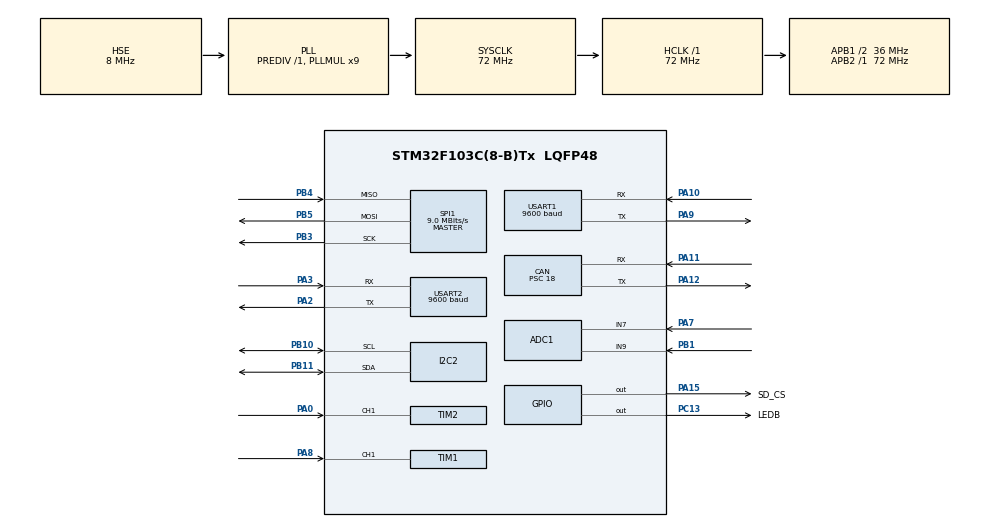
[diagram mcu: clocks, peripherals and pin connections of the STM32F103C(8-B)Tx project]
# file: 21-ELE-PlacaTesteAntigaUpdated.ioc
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ADC1.Channel-0\#ChannelRegularConversion=ADC_CHANNEL_7
ADC1.Channel-1\#ChannelRegularConversion=ADC_CHANNEL_9
ADC1.ContinuousConvMode=ENABLE
ADC1.NbrOfConversion=2
ADC1.NbrOfConversionFlag=1
ADC1.Rank-0\#ChannelRegularConversion=1
ADC1.Rank-1\#ChannelRegularConversion=2
ADC1.SamplingTime-0\#ChannelRegularConversion=ADC_SAMPLETIME_239CYCLES_5
ADC1.SamplingTime-1\#ChannelRegularConversion=ADC_SAMPLETIME_239CYCLES_5
ADC1.master=1
CAN.BS1=CAN_BS1_2TQ
CAN.CalculateBaudRate=500000
CAN.CalculateTimeBit=2000
CAN.CalculateTimeQuantum=500.0
CAN.Prescaler=18
Dma.ADC1.0.Direction=DMA_PERIPH_TO_MEMORY
Dma.ADC1.0.Instance=DMA1_Channel1
Dma.ADC1.0.MemDataAlignment=DMA_MDATAALIGN_HALFWORD
Dma.ADC1.0.MemInc=DMA_MINC_ENABLE
Dma.ADC1.0.Mode=DMA_CIRCULAR
Dma.ADC1.0.PeriphDataAlignment=DMA_PDATAALIGN_HALFWORD
Dma.ADC1.0.PeriphInc=DMA_PINC_DISABLE
Dma.ADC1.0.Priority=DMA_PRIORITY_LOW
Dma.Request0=ADC1
Dma.Request1=USART1_RX
Dma.Request2=USART2_RX
Dma.USART1_RX.1.Direction=DMA_PERIPH_TO_MEMORY
Dma.USART1_RX.1.Instance=DMA1_Channel5
Dma.USART1_RX.1.MemDataAlignment=DMA_MDATAALIGN_BYTE
Dma.USART1_RX.1.MemInc=DMA_MINC_ENABLE
Dma.USART1_RX.1.Mode=DMA_CIRCULAR
Dma.USART1_RX.1.PeriphDataAlignment=DMA_PDATAALIGN_BYTE
Dma.USART1_RX.1.PeriphInc=DMA_PINC_DISABLE
Dma.USART1_RX.1.Priority=DMA_PRIORITY_VERY_HIGH
Dma.USART2_RX.2.Direction=DMA_PERIPH_TO_MEMORY
Dma.USART2_RX.2.Instance=DMA1_Channel6
Dma.USART2_RX.2.MemDataAlignment=DMA_MDATAALIGN_BYTE
Dma.USART2_RX.2.MemInc=DMA_MINC_ENABLE
Dma.USART2_RX.2.Mode=DMA_CIRCULAR
Dma.USART2_RX.2.PeriphDataAlignment=DMA_PDATAALIGN_BYTE
Dma.USART2_RX.2.PeriphInc=DMA_PINC_DISABLE
Dma.USART2_RX.2.Priority=DMA_PRIORITY_VERY_HIGH
FATFS._FS_TINY=1
FATFS._MAX_SS=1024
FATFS._USE_LFN=1
Mcu.Family=STM32F1
Mcu.Name=STM32F103C(8-B)Tx
Mcu.Package=LQFP48
NVIC.DMA1_Channel1_IRQn=true\:0\:0\:false\:false\:true\:false\:true
NVIC.DMA1_Channel5_IRQn=true\:0\:0\:false\:false\:true\:false\:true
NVIC.DMA1_Channel6_IRQn=true\:0\:0\:false\:false\:true\:false\:true
NVIC.PriorityGroup=NVIC_PRIORITYGROUP_4
NVIC.TIM1_CC_IRQn=true\:0\:0\:true\:false\:true\:true\:true
NVIC.TIM1_UP_IRQn=true\:0\:0\:true\:false\:true\:true\:true
NVIC.TIM2_IRQn=true\:0\:0\:true\:false\:true\:true\:true
NVIC.TIM3_IRQn=true\:1\:0\:true\:false\:true\:true\:true
NVIC.TIM4_IRQn=true\:1\:0\:true\:false\:true\:true\:true
NVIC.USART1_IRQn=true\:0\:0\:true\:false\:true\:true\:true
NVIC.USART2_IRQn=true\:0\:0\:true\:false\:true\:true\:true
NVIC.USB_LP_CAN1_RX0_IRQn=true\:0\:0\:false\:false\:true\:true\:true
PA0-WKUP.GPIO_PuPd=GPIO_PULLDOWN
PA0-WKUP.Signal=S_TIM2_CH1_ETR
PA10.Mode=Asynchronous
PA10.Signal=USART1_RX
PA11.Mode=CAN_Activate
PA11.Signal=CAN_RX
PA12.Mode=CAN_Activate
PA12.Signal=CAN_TX
PA13.Mode=Serial_Wire
PA13.Signal=SYS_JTMS-SWDIO
PA14.Mode=Serial_Wire
PA14.Signal=SYS_JTCK-SWCLK
PA15.GPIO_Label=SD_CS
PA15.GPIO_Speed=GPIO_SPEED_FREQ_MEDIUM
PA15.Signal=GPIO_Output
PA2.Mode=Asynchronous
PA2.Signal=USART2_TX
PA3.Mode=Asynchronous
PA3.Signal=USART2_RX
PA7.Signal=ADCx_IN7
PA8.GPIO_PuPd=GPIO_PULLDOWN
PA8.Signal=S_TIM1_CH1
PA9.Mode=Asynchronous
PA9.Signal=USART1_TX
PB1.Signal=ADCx_IN9
PB10.GPIO_Pu=GPIO_PULLUP
PB10.Mode=I2C
PB10.Signal=I2C2_SCL
PB11.GPIO_Pu=GPIO_PULLUP
PB11.Mode=I2C
PB11.Signal=I2C2_SDA
PB3.Mode=Full_Duplex_Master
PB3.Signal=SPI1_SCK
PB4.Mode=Full_Duplex_Master
PB4.Signal=SPI1_MISO
PB5.Mode=Full_Duplex_Master
PB5.Signal=SPI1_MOSI
PC13-TAMPER-RTC.GPIO_Label=LEDB
PC13-TAMPER-RTC.Signal=GPIO_Output
PD0-OSC_IN.Mode=HSE-External-Oscillator
PD0-OSC_IN.Signal=RCC_OSC_IN
PD1-OSC_OUT.Mode=HSE-External-Oscillator
PD1-OSC_OUT.Signal=RCC_OSC_OUT
ProjectManager.HeapSize=0x200
ProjectManager.StackSize=0x400
ProjectManager.TargetToolchain=STM32CubeIDE
RCC.ADCPresc=RCC_ADCPCLK2_DIV6
RCC.AHBFreq_Value=72000000
RCC.APB1CLKDivider=RCC_HCLK_DIV2
RCC.APB1Freq_Value=36000000
RCC.APB1TimFreq_Value=72000000
RCC.APB2Freq_Value=72000000
RCC.APB2TimFreq_Value=72000000
RCC.HCLKFreq_Value=72000000
RCC.PLLMUL=RCC_PLL_MUL9
RCC.PLLSourceVirtual=RCC_PLLSOURCE_HSE
RCC.SYSCLKFreq_VALUE=72000000
RCC.SYSCLKSource=RCC_SYSCLKSOURCE_PLLCLK
RCC.USBFreq_Value=72000000
SH.ADCx_IN7.0=ADC1_IN7,IN7
SH.ADCx_IN9.0=ADC1_IN9,IN9
SH.S_TIM1_CH1.0=TIM1_CH1,Input_Capture1_from_TI1
SH.S_TIM2_CH1_ETR.0=TIM2_CH1,Input_Capture1_from_TI1
SPI1.BaudRatePrescaler=SPI_BAUDRATEPRESCALER_8
SPI1.CalculateBaudRate=9.0 MBits/s
SPI1.Direction=SPI_DIRECTION_2LINES
SPI1.Mode=SPI_MODE_MASTER
SPI1.VirtualType=VM_MASTER
TIM1.Channel-Input_Capture1_from_TI1=TIM_CHANNEL_1
TIM1.ICFilter_CH1=15
TIM1.Period=49999
TIM1.Prescaler=71
TIM2.Channel-Input_Capture1_from_TI1=TIM_CHANNEL_1
TIM2.ICFilter_CH1=15
TIM2.Period=49999
TIM2.Prescaler=71
TIM3.Period=49999
TIM3.Prescaler=71
TIM4.ClockDivision=TIM_CLOCKDIVISION_DIV1
TIM4.Period=9999
TIM4.Prescaler=71
USART1.BaudRate=9600
USART1.VirtualMode=VM_ASYNC
USART2.BaudRate=9600
USART2.VirtualMode=VM_ASYNC
VP_FATFS_VS_Generic.Mode=User_defined
VP_TIM1_VS_ClockSourceINT.Mode=Internal
VP_TIM2_VS_ClockSourceINT.Mode=Internal
VP_TIM3_VS_ClockSourceINT.Mode=Internal
VP_TIM4_VS_ClockSourceINT.Mode=Internal
board=custom

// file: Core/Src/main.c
/* USER CODE BEGIN Header */
/**
  ******************************************************************************
  * @file           : main.c
  * @brief          : Main program body
  ******************************************************************************
  * @attention
  *
  * <h2><center>&copy; Copyright (c) 2021 STMicroelectronics.
  * All rights reserved.</center></h2>
  *
  * This software component is licensed by ST under Ultimate Liberty license
  * SLA0044, the "License"; You may not use this file except in compliance with
  * the License. You may obtain a copy of the License at:
  *                             www.st.com/SLA0044
  *
  ******************************************************************************
  */
/* USER CODE END Header */
#include "main.h"
#include "fatfs.h"

/* USER CODE BEGIN Includes */
#include "sdCard.h"
#include "rot.h"
#include "vel.h"
#include "dina.h"
#include "ace_gir.h"
#include "can_bus.h"
#include "ADC_DMA.h"
#include "traction.h"
/* USER CODE END Includes */

ADC_HandleTypeDef hadc1;
DMA_HandleTypeDef hdma_adc1;

CAN_HandleTypeDef hcan;

I2C_HandleTypeDef hi2c2;

SPI_HandleTypeDef hspi1;

TIM_HandleTypeDef htim1;
TIM_HandleTypeDef htim2;
TIM_HandleTypeDef htim3;
TIM_HandleTypeDef htim4;

UART_HandleTypeDef huart1;
UART_HandleTypeDef huart2;
DMA_HandleTypeDef hdma_usart1_rx;
DMA_HandleTypeDef hdma_usart2_rx;

void SystemClock_Config(void);
static void MX_GPIO_Init(void);
static void MX_DMA_Init(void);
static void MX_ADC1_Init(void);
static void MX_I2C2_Init(void);
static void MX_SPI1_Init(void);
static void MX_TIM2_Init(void);
static void MX_TIM3_Init(void);
static void MX_TIM4_Init(void);
static void MX_TIM1_Init(void);
static void MX_USART1_UART_Init(void);
static void MX_CAN_Init(void);
static void MX_USART2_UART_Init(void);

int main(void)
{

  /* MCU Configuration--------------------------------------------------------*/

  /* Reset of all peripherals, Initializes the Flash interface and the Systick. */
  HAL_Init();

  /* Configure the system clock */
  SystemClock_Config();

  /* Initialize all configured peripherals */
  MX_GPIO_Init();
  MX_DMA_Init();
  MX_ADC1_Init();
  MX_I2C2_Init();
  MX_SPI1_Init();
  MX_TIM2_Init();
  MX_TIM3_Init();
  MX_FATFS_Init();
  MX_TIM4_Init();
  MX_TIM1_Init();
  MX_USART1_UART_Init();
  MX_CAN_Init();
  MX_USART2_UART_Init();
  /* USER CODE BEGIN 2 */

	fresult = SD_Init();
	if (fresult == FR_NOT_READY)
		sdCard.mode = 9;

	if (sdCard.mode == 0)
	{
	  rot_Init();
	  vel_Init();
	}
	else if (sdCard.mode == 1)
	{
		dina_Init();
		rot_Init();
	}
	else if (sdCard.mode == 2)
	{
		can_bus_Init();
		aceGir_Init(&hi2c2);
		ADC_DMA_Init();
	}
	else if (sdCard.mode == 3)
	{
		traction_Init();
		rot_Init();
		vel_Init();
	}
	else if (sdCard.mode == 4)
	{
		can_bus_Init();
	}

	HAL_TIM_Base_Start_IT(&htim4);

  /* USER CODE END 2 */

  /* Infinite loop */
  while (1)
  {

  }
}

void SystemClock_Config(void)
{
  RCC_OscInitTypeDef RCC_OscInitStruct = {0};
  RCC_ClkInitTypeDef RCC_ClkInitStruct = {0};
  RCC_PeriphCLKInitTypeDef PeriphClkInit = {0};

  /** Initializes the RCC Oscillators according to the specified parameters
  * in the RCC_OscInitTypeDef structure.
  */
  RCC_OscInitStruct.OscillatorType = RCC_OSCILLATORTYPE_HSE;
  RCC_OscInitStruct.HSEState = RCC_HSE_ON;
  RCC_OscInitStruct.HSEPredivValue = RCC_HSE_PREDIV_DIV1;
  RCC_OscInitStruct.HSIState = RCC_HSI_ON;
  RCC_OscInitStruct.PLL.PLLState = RCC_PLL_ON;
  RCC_OscInitStruct.PLL.PLLSource = RCC_PLLSOURCE_HSE;
  RCC_OscInitStruct.PLL.PLLMUL = RCC_PLL_MUL9;
  if (HAL_RCC_OscConfig(&RCC_OscInitStruct) != HAL_OK)
  {
    Error_Handler();
  }
  /** Initializes the CPU, AHB and APB buses clocks
  */
  RCC_ClkInitStruct.ClockType = RCC_CLOCKTYPE_HCLK|RCC_CLOCKTYPE_SYSCLK
                              |RCC_CLOCKTYPE_PCLK1|RCC_CLOCKTYPE_PCLK2;
  RCC_ClkInitStruct.SYSCLKSource = RCC_SYSCLKSOURCE_PLLCLK;
  RCC_ClkInitStruct.AHBCLKDivider = RCC_SYSCLK_DIV1;
  RCC_ClkInitStruct.APB1CLKDivider = RCC_HCLK_DIV2;
  RCC_ClkInitStruct.APB2CLKDivider = RCC_HCLK_DIV1;

  if (HAL_RCC_ClockConfig(&RCC_ClkInitStruct, FLASH_LATENCY_2) != HAL_OK)
  {
    Error_Handler();
  }
  PeriphClkInit.PeriphClockSelection = RCC_PERIPHCLK_ADC;
  PeriphClkInit.AdcClockSelection = RCC_ADCPCLK2_DIV6;
  if (HAL_RCCEx_PeriphCLKConfig(&PeriphClkInit) != HAL_OK)
  {
    Error_Handler();
  }
}

static void MX_ADC1_Init(void)
{

  ADC_ChannelConfTypeDef sConfig = {0};

  /** Common config
  */
  hadc1.Instance = ADC1;
  hadc1.Init.ScanConvMode = ADC_SCAN_ENABLE;
  hadc1.Init.ContinuousConvMode = ENABLE;
  hadc1.Init.DiscontinuousConvMode = DISABLE;
  hadc1.Init.ExternalTrigConv = ADC_SOFTWARE_START;
  hadc1.Init.DataAlign = ADC_DATAALIGN_RIGHT;
  hadc1.Init.NbrOfConversion = 2;
  if (HAL_ADC_Init(&hadc1) != HAL_OK)
  {
    Error_Handler();
  }
  /** Configure Regular Channel
  */
  sConfig.Channel = ADC_CHANNEL_7;
  sConfig.Rank = ADC_REGULAR_RANK_1;
  sConfig.SamplingTime = ADC_SAMPLETIME_239CYCLES_5;
  if (HAL_ADC_ConfigChannel(&hadc1, &sConfig) != HAL_OK)
  {
    Error_Handler();
  }
  /** Configure Regular Channel
  */
  sConfig.Channel = ADC_CHANNEL_9;
  sConfig.Rank = ADC_REGULAR_RANK_2;
  if (HAL_ADC_ConfigChannel(&hadc1, &sConfig) != HAL_OK)
  {
    Error_Handler();
  }

}

static void MX_CAN_Init(void)
{

  hcan.Instance = CAN1;
  hcan.Init.Prescaler = 18;
  hcan.Init.Mode = CAN_MODE_NORMAL;
  hcan.Init.SyncJumpWidth = CAN_SJW_1TQ;
  hcan.Init.TimeSeg1 = CAN_BS1_2TQ;
  hcan.Init.TimeSeg2 = CAN_BS2_1TQ;
  hcan.Init.TimeTriggeredMode = DISABLE;
  hcan.Init.AutoBusOff = DISABLE;
  hcan.Init.AutoWakeUp = DISABLE;
  hcan.Init.AutoRetransmission = DISABLE;
  hcan.Init.ReceiveFifoLocked = DISABLE;
  hcan.Init.TransmitFifoPriority = DISABLE;
  if (HAL_CAN_Init(&hcan) != HAL_OK)
  {
    Error_Handler();
  }

}

static void MX_I2C2_Init(void)
{

  hi2c2.Instance = I2C2;
  hi2c2.Init.ClockSpeed = 100000;
  hi2c2.Init.DutyCycle = I2C_DUTYCYCLE_2;
  hi2c2.Init.OwnAddress1 = 0;
  hi2c2.Init.AddressingMode = I2C_ADDRESSINGMODE_7BIT;
  hi2c2.Init.DualAddressMode = I2C_DUALADDRESS_DISABLE;
  hi2c2.Init.OwnAddress2 = 0;
  hi2c2.Init.GeneralCallMode = I2C_GENERALCALL_DISABLE;
  hi2c2.Init.NoStretchMode = I2C_NOSTRETCH_DISABLE;
  if (HAL_I2C_Init(&hi2c2) != HAL_OK)
  {
    Error_Handler();
  }

}

static void MX_SPI1_Init(void)
{

  /* SPI1 parameter configuration*/
  hspi1.Instance = SPI1;
  hspi1.Init.Mode = SPI_MODE_MASTER;
  hspi1.Init.Direction = SPI_DIRECTION_2LINES;
  hspi1.Init.DataSize = SPI_DATASIZE_8BIT;
  hspi1.Init.CLKPolarity = SPI_POLARITY_LOW;
  hspi1.Init.CLKPhase = SPI_PHASE_1EDGE;
  hspi1.Init.NSS = SPI_NSS_SOFT;
  hspi1.Init.BaudRatePrescaler = SPI_BAUDRATEPRESCALER_8;
  hspi1.Init.FirstBit = SPI_FIRSTBIT_MSB;
  hspi1.Init.TIMode = SPI_TIMODE_DISABLE;
  hspi1.Init.CRCCalculation = SPI_CRCCALCULATION_DISABLE;
  hspi1.Init.CRCPolynomial = 10;
  if (HAL_SPI_Init(&hspi1) != HAL_OK)
  {
    Error_Handler();
  }

}

static void MX_TIM1_Init(void)
{

  TIM_ClockConfigTypeDef sClockSourceConfig = {0};
  TIM_MasterConfigTypeDef sMasterConfig = {0};
  TIM_IC_InitTypeDef sConfigIC = {0};

  htim1.Instance = TIM1;
  htim1.Init.Prescaler = 71;
  htim1.Init.CounterMode = TIM_COUNTERMODE_UP;
  htim1.Init.Period = 49999;
  htim1.Init.ClockDivision = TIM_CLOCKDIVISION_DIV1;
  htim1.Init.RepetitionCounter = 0;
  htim1.Init.AutoReloadPreload = TIM_AUTORELOAD_PRELOAD_DISABLE;
  if (HAL_TIM_Base_Init(&htim1) != HAL_OK)
  {
    Error_Handler();
  }
  sClockSourceConfig.ClockSource = TIM_CLOCKSOURCE_INTERNAL;
  if (HAL_TIM_ConfigClockSource(&htim1, &sClockSourceConfig) != HAL_OK)
  {
    Error_Handler();
  }
  if (HAL_TIM_IC_Init(&htim1) != HAL_OK)
  {
    Error_Handler();
  }
  sMasterConfig.MasterOutputTrigger = TIM_TRGO_RESET;
  sMasterConfig.MasterSlaveMode = TIM_MASTERSLAVEMODE_DISABLE;
  if (HAL_TIMEx_MasterConfigSynchronization(&htim1, &sMasterConfig) != HAL_OK)
  {
    Error_Handler();
  }
  sConfigIC.ICPolarity = TIM_INPUTCHANNELPOLARITY_RISING;
  sConfigIC.ICSelection = TIM_ICSELECTION_DIRECTTI;
  sConfigIC.ICPrescaler = TIM_ICPSC_DIV1;
  sConfigIC.ICFilter = 15;
  if (HAL_TIM_IC_ConfigChannel(&htim1, &sConfigIC, TIM_CHANNEL_1) != HAL_OK)
  {
    Error_Handler();
  }

}

static void MX_TIM2_Init(void)
{

  TIM_ClockConfigTypeDef sClockSourceConfig = {0};
  TIM_MasterConfigTypeDef sMasterConfig = {0};
  TIM_IC_InitTypeDef sConfigIC = {0};

  htim2.Instance = TIM2;
  htim2.Init.Prescaler = 71;
  htim2.Init.CounterMode = TIM_COUNTERMODE_UP;
  htim2.Init.Period = 49999;
  htim2.Init.ClockDivision = TIM_CLOCKDIVISION_DIV1;
  htim2.Init.AutoReloadPreload = TIM_AUTORELOAD_PRELOAD_DISABLE;
  if (HAL_TIM_Base_Init(&htim2) != HAL_OK)
  {
    Error_Handler();
  }
  sClockSourceConfig.ClockSource = TIM_CLOCKSOURCE_INTERNAL;
  if (HAL_TIM_ConfigClockSource(&htim2, &sClockSourceConfig) != HAL_OK)
  {
    Error_Handler();
  }
  if (HAL_TIM_IC_Init(&htim2) != HAL_OK)
  {
    Error_Handler();
  }
  sMasterConfig.MasterOutputTrigger = TIM_TRGO_RESET;
  sMasterConfig.MasterSlaveMode = TIM_MASTERSLAVEMODE_DISABLE;
  if (HAL_TIMEx_MasterConfigSynchronization(&htim2, &sMasterConfig) != HAL_OK)
  {
    Error_Handler();
  }
  sConfigIC.ICPolarity = TIM_INPUTCHANNELPOLARITY_RISING;
  sConfigIC.ICSelection = TIM_ICSELECTION_DIRECTTI;
  sConfigIC.ICPrescaler = TIM_ICPSC_DIV1;
  sConfigIC.ICFilter = 15;
  if (HAL_TIM_IC_ConfigChannel(&htim2, &sConfigIC, TIM_CHANNEL_1) != HAL_OK)
  {
    Error_Handler();
  }

}

static void MX_TIM3_Init(void)
{

  TIM_ClockConfigTypeDef sClockSourceConfig = {0};
  TIM_MasterConfigTypeDef sMasterConfig = {0};

  htim3.Instance = TIM3;
  htim3.Init.Prescaler = 71;
  htim3.Init.CounterMode = TIM_COUNTERMODE_UP;
  htim3.Init.Period = 49999;
  htim3.Init.ClockDivision = TIM_CLOCKDIVISION_DIV1;
  htim3.Init.AutoReloadPreload = TIM_AUTORELOAD_PRELOAD_DISABLE;
  if (HAL_TIM_Base_Init(&htim3) != HAL_OK)
  {
    Error_Handler();
  }
  sClockSourceConfig.ClockSource = TIM_CLOCKSOURCE_INTERNAL;
  if (HAL_TIM_ConfigClockSource(&htim3, &sClockSourceConfig) != HAL_OK)
  {
    Error_Handler();
  }
  sMasterConfig.MasterOutputTrigger = TIM_TRGO_RESET;
  sMasterConfig.MasterSlaveMode = TIM_MASTERSLAVEMODE_DISABLE;
  if (HAL_TIMEx_MasterConfigSynchronization(&htim3, &sMasterConfig) != HAL_OK)
  {
    Error_Handler();
  }

}

static void MX_TIM4_Init(void)
{

  TIM_ClockConfigTypeDef sClockSourceConfig = {0};
  TIM_MasterConfigTypeDef sMasterConfig = {0};

  htim4.Instance = TIM4;
  htim4.Init.Prescaler = 71;
  htim4.Init.CounterMode = TIM_COUNTERMODE_UP;
  htim4.Init.Period = 9999;
  htim4.Init.ClockDivision = TIM_CLOCKDIVISION_DIV1;
  htim4.Init.AutoReloadPreload = TIM_AUTORELOAD_PRELOAD_DISABLE;
  if (HAL_TIM_Base_Init(&htim4) != HAL_OK)
  {
    Error_Handler();
  }
  sClockSourceConfig.ClockSource = TIM_CLOCKSOURCE_INTERNAL;
  if (HAL_TIM_ConfigClockSource(&htim4, &sClockSourceConfig) != HAL_OK)
  {
    Error_Handler();
  }
  sMasterConfig.MasterOutputTrigger = TIM_TRGO_RESET;
  sMasterConfig.MasterSlaveMode = TIM_MASTERSLAVEMODE_DISABLE;
  if (HAL_TIMEx_MasterConfigSynchronization(&htim4, &sMasterConfig) != HAL_OK)
  {
    Error_Handler();
  }

}

static void MX_USART1_UART_Init(void)
{

  huart1.Instance = USART1;
  huart1.Init.BaudRate = 9600;
  huart1.Init.WordLength = UART_WORDLENGTH_8B;
  huart1.Init.StopBits = UART_STOPBITS_1;
  huart1.Init.Parity = UART_PARITY_NONE;
  huart1.Init.Mode = UART_MODE_TX_RX;
  huart1.Init.HwFlowCtl = UART_HWCONTROL_NONE;
  huart1.Init.OverSampling = UART_OVERSAMPLING_16;
  if (HAL_UART_Init(&huart1) != HAL_OK)
  {
    Error_Handler();
  }

}

static void MX_USART2_UART_Init(void)
{

  huart2.Instance = USART2;
  huart2.Init.BaudRate = 9600;
  huart2.Init.WordLength = UART_WORDLENGTH_8B;
  huart2.Init.StopBits = UART_STOPBITS_1;
  huart2.Init.Parity = UART_PARITY_NONE;
  huart2.Init.Mode = UART_MODE_TX_RX;
  huart2.Init.HwFlowCtl = UART_HWCONTROL_NONE;
  huart2.Init.OverSampling = UART_OVERSAMPLING_16;
  if (HAL_UART_Init(&huart2) != HAL_OK)
  {
    Error_Handler();
  }

}

static void MX_DMA_Init(void)
{

  /* DMA controller clock enable */
  __HAL_RCC_DMA1_CLK_ENABLE();

  /* DMA interrupt init */
  /* DMA1_Channel1_IRQn interrupt configuration */
  HAL_NVIC_SetPriority(DMA1_Channel1_IRQn, 0, 0);
  HAL_NVIC_EnableIRQ(DMA1_Channel1_IRQn);
  /* DMA1_Channel5_IRQn interrupt configuration */
  HAL_NVIC_SetPriority(DMA1_Channel5_IRQn, 0, 0);
  HAL_NVIC_EnableIRQ(DMA1_Channel5_IRQn);
  /* DMA1_Channel6_IRQn interrupt configuration */
  HAL_NVIC_SetPriority(DMA1_Channel6_IRQn, 0, 0);
  HAL_NVIC_EnableIRQ(DMA1_Channel6_IRQn);

}

static void MX_GPIO_Init(void)
{
  GPIO_InitTypeDef GPIO_InitStruct = {0};

  /* GPIO Ports Clock Enable */
  __HAL_RCC_GPIOC_CLK_ENABLE();
  __HAL_RCC_GPIOD_CLK_ENABLE();
  __HAL_RCC_GPIOA_CLK_ENABLE();
  __HAL_RCC_GPIOB_CLK_ENABLE();

  /*Configure GPIO pin Output Level */
  HAL_GPIO_WritePin(LEDB_GPIO_Port, LEDB_Pin, GPIO_PIN_RESET);

  /*Configure GPIO pin Output Level */
  HAL_GPIO_WritePin(SD_CS_GPIO_Port, SD_CS_Pin, GPIO_PIN_RESET);

  /*Configure GPIO pin : LEDB_Pin */
  GPIO_InitStruct.Pin = LEDB_Pin;
  GPIO_InitStruct.Mode = GPIO_MODE_OUTPUT_PP;
  GPIO_InitStruct.Pull = GPIO_NOPULL;
  GPIO_InitStruct.Speed = GPIO_SPEED_FREQ_LOW;
  HAL_GPIO_Init(LEDB_GPIO_Port, &GPIO_InitStruct);

  /*Configure GPIO pin : SD_CS_Pin */
  GPIO_InitStruct.Pin = SD_CS_Pin;
  GPIO_InitStruct.Mode = GPIO_MODE_OUTPUT_PP;
  GPIO_InitStruct.Pull = GPIO_NOPULL;
  GPIO_InitStruct.Speed = GPIO_SPEED_FREQ_MEDIUM;
  HAL_GPIO_Init(SD_CS_GPIO_Port, &GPIO_InitStruct);

}

void Error_Handler(void)
{
  __disable_irq();
  while (1)
  {
  }
}
